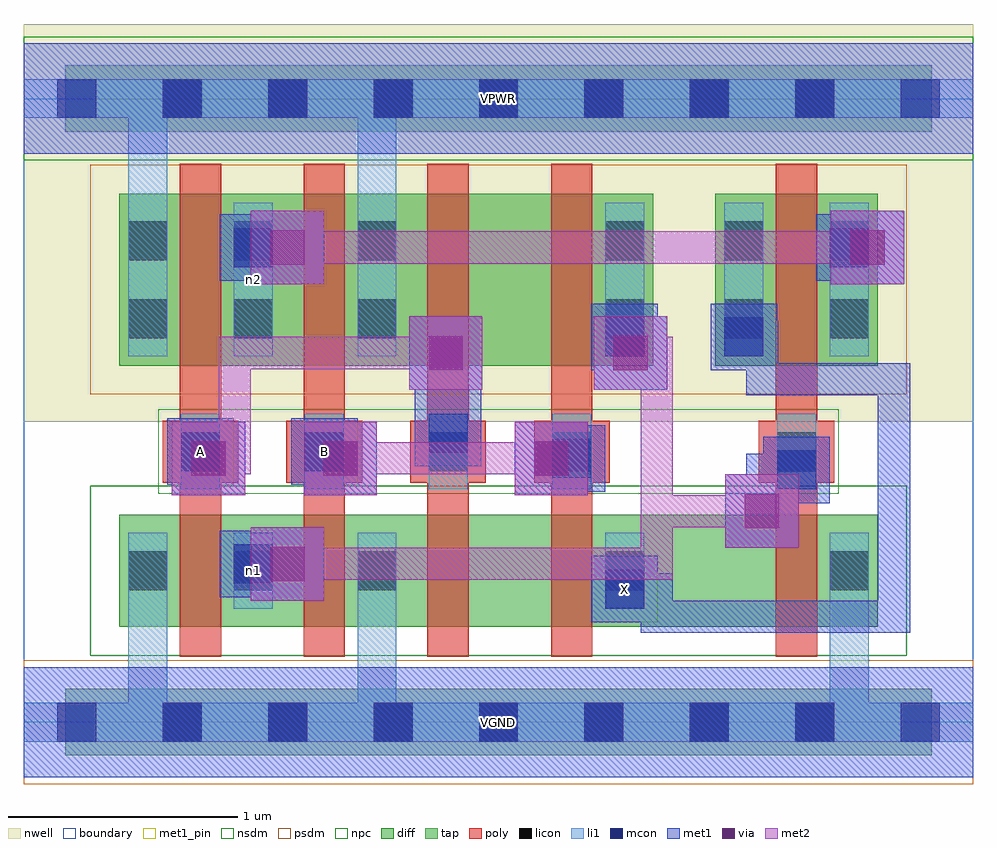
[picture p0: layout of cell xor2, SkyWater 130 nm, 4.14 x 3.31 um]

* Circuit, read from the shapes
.subckt xor2 A B VGND VPWR X n1 n2
XM1 n1 A VGND VGND sky130_fd_pr__nfet_01v8 w=0.49 l=0.18
XM2 VGND B n1 VGND sky130_fd_pr__nfet_01v8 w=0.49 l=0.18
XM3 n3 A VGND VGND sky130_fd_pr__nfet_01v8 w=0.49 l=0.18
XM4 X B n3 VGND sky130_fd_pr__nfet_01v8 w=0.49 l=0.18
XM5 VGND n1 X VGND sky130_fd_pr__nfet_01v8 w=0.49 l=0.18
XM6 n2 A VPWR VPWR sky130_fd_pr__pfet_01v8 w=0.75 l=0.18
XM7 VPWR B n2 VPWR sky130_fd_pr__pfet_01v8 w=0.75 l=0.18
XM8 n4 A VPWR VPWR sky130_fd_pr__pfet_01v8 w=0.75 l=0.18
XM9 n1 B n4 VPWR sky130_fd_pr__pfet_01v8 w=0.75 l=0.18
XM10 n2 n1 X VPWR sky130_fd_pr__pfet_01v8 w=0.75 l=0.18
.ends

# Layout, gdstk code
import gdstk
lib = gdstk.Library(unit=1e-6, precision=1e-09)
def R(c, l, rs):  # rectangles x0, y0, x1, y1
    for r in rs: c.add(gdstk.rectangle(r[:2], r[2:], *l))
def A(c, l, x, y, w, h, nx, ny, dx, dy):  # array of equal rectangles
    R(c, l, [(x+i*dx, y+j*dy, x+i*dx+w, y+j*dy+h) for i in range(nx) for j in range(ny)])
nwell = (64, 20)
diff = (65, 20)
tap = (65, 44)
poly = (66, 20)
licon = (66, 44)
li1 = (67, 20)
mcon = (67, 44)
met1_pin = (68, 16)
met1 = (68, 20)
via = (68, 44)
met2 = (69, 20)
nsdm = (93, 44)
psdm = (94, 20)
npc = (95, 20)
boundary = (235, 4)

xor2 = lib.new_cell('xor2')
R(xor2, nwell, [(0,1.31,4.14,3.045)])
R(xor2, diff, [(0.415,0.415,3.725,0.905), (0.415,1.555,2.745,2.305), (3.015,1.555,3.725,2.305)])
R(xor2, tap, [(0.18,-0.145,3.96,0.145), (0.18,2.575,3.96,2.865)])
A(xor2, poly, 0.68, 0.285, 0.18, 2.15, 4, 1, 0.54, 0)
A(xor2, poly, 0.605, 1.045, 0.33, 0.27, 4, 1, 0.54, 0)
R(xor2, poly, [(3.28,0.285,3.46,2.435), (3.205,1.045,3.535,1.315)])
A(xor2, licon, 0.605, -0.085, 0.17, 0.17, 7, 2, 0.46, 2.72)
A(xor2, licon, 0.685, 1.095, 0.17, 0.17, 4, 1, 0.54, 0)
R(xor2, licon, [(0.455,0.575,0.625,0.745), (0.915,0.575,1.085,0.745), (1.455,0.575,1.625,0.745), (2.535,0.575,2.705,0.745), (3.515,0.575,3.685,0.745), (3.285,1.095,3.455,1.265), (0.455,1.675,0.625,1.845), (0.915,1.675,1.085,1.845), (1.455,1.675,1.625,1.845), (2.535,1.675,2.705,1.845), (3.055,1.675,3.225,1.845), (3.515,1.675,3.685,1.845), (0.455,2.015,0.625,2.185), (0.915,2.015,1.085,2.185), (1.455,2.015,1.625,2.185), (2.535,2.015,2.705,2.185), (3.055,2.015,3.225,2.185), (3.515,2.015,3.685,2.185)])
A(xor2, li1, 0.685, 1.015, 0.17, 0.33, 4, 1, 0.54, 0)
R(xor2, li1, [(0,-0.085,4.14,0.085), (0.455,-0.085,0.625,0.825), (1.455,-0.085,1.625,0.825), (3.515,-0.085,3.685,0.825), (0.455,0.495,0.625,0.825), (0.915,0.495,1.085,0.825), (1.455,0.495,1.625,0.825), (2.535,0.495,2.705,0.825), (3.515,0.495,3.685,0.825), (3.285,1.015,3.455,1.345), (0.455,1.595,0.625,2.265), (0.455,1.595,0.625,2.805), (0.915,1.595,1.085,2.265), (1.455,1.595,1.625,2.265), (1.455,1.595,1.625,2.805), (2.535,1.595,2.705,2.265), (3.055,1.595,3.225,2.265), (3.515,1.595,3.685,2.265), (0,2.635,4.14,2.805)])
A(xor2, mcon, 0.145, -0.085, 0.17, 0.17, 9, 2, 0.46, 2.72)
R(xor2, mcon, [(2.535,0.495,2.705,0.665), (0.915,0.605,1.085,0.775), (3.285,1.015,3.455,1.185), (2.305,1.065,2.475,1.235), (0.685,1.095,0.855,1.265), (1.225,1.095,1.395,1.265), (1.765,1.175,1.935,1.345), (2.535,1.595,2.705,1.765), (3.055,1.595,3.225,1.765), (0.915,1.985,1.085,2.155), (3.515,1.985,3.685,2.155)])
R(xor2, met1_pin, [(0,-0.24,4.14,0.24), (2.475,0.435,2.765,0.725), (0.625,1.035,0.915,1.325), (1.165,1.035,1.455,1.325), (0,2.48,4.14,2.96)])
R(xor2, met1, [(0,-0.24,4.14,0.24), (2.69,0.39,2.83,0.65), (2.69,0.39,3.865,0.53), (3.725,0.39,3.865,1.565), (2.475,0.435,2.765,0.725), (2.55,0.51,2.83,0.65), (0.99,0.53,1.31,0.85), (0.855,0.545,1.145,0.835), (0.93,0.62,1.22,0.76), (3.06,0.76,3.38,1.08), (3.15,0.85,3.29,1.17), (3.225,0.955,3.515,1.245), (0.645,0.99,0.965,1.31), (1.22,0.99,1.54,1.31), (2.14,0.99,2.46,1.31), (2.245,1.005,2.535,1.295), (3.15,1.03,3.44,1.17), (0.625,1.035,0.915,1.325), (1.165,1.035,1.455,1.325), (0.735,1.08,0.875,1.22), (1.31,1.08,1.45,1.22), (2.23,1.08,2.46,1.22), (1.705,1.115,1.995,1.405), (1.77,1.19,1.91,1.45), (1.77,1.19,1.92,1.33), (1.77,1.31,1.91,1.68), (1.77,1.33,1.92,1.45), (1.705,1.405,1.995,1.45), (3.15,1.425,3.29,1.75), (3.15,1.425,3.865,1.565), (1.68,1.45,2,1.77), (2.485,1.45,2.805,1.77), (2.475,1.535,2.765,1.825), (2.995,1.535,3.285,1.825), (2.575,1.54,2.715,1.75), (2.55,1.61,2.715,1.75), (3.07,1.61,3.29,1.75), (0.99,1.91,1.31,2.23), (3.52,1.91,3.84,2.23), (0.855,1.925,1.145,2.215), (3.455,1.925,3.745,2.215), (0.93,2,1.22,2.14), (3.53,2,3.75,2.14), (0,2.48,4.14,2.96)])
R(xor2, via, [(1.075,0.615,1.225,0.765), (3.145,0.845,3.295,0.995), (0.73,1.075,0.88,1.225), (1.305,1.075,1.455,1.225), (2.225,1.075,2.375,1.225), (1.765,1.535,1.915,1.685), (2.57,1.535,2.72,1.685), (1.075,1.995,1.225,2.145), (3.605,1.995,3.755,2.145)])
R(xor2, met2, [(0.99,0.53,1.31,0.85), (1.08,0.62,2.83,0.76), (2.69,0.62,2.83,0.99), (3.06,0.76,3.38,1.08), (2.69,0.85,3.29,0.99), (2.69,0.85,2.83,1.68), (0.645,0.99,0.965,1.31), (1.22,0.99,1.54,1.31), (2.14,0.99,2.46,1.31), (0.735,1.08,0.99,1.22), (0.85,1.08,0.99,1.68), (1.31,1.08,2.37,1.22), (1.68,1.45,2,1.77), (2.485,1.45,2.805,1.77), (0.85,1.54,1.91,1.68), (2.575,1.54,2.83,1.68), (0.99,1.91,1.31,2.23), (3.52,1.91,3.84,2.23), (1.08,2,3.75,2.14)])
R(xor2, nsdm, [(0.29,0.29,3.85,1.03), (0,2.45,4.14,2.99)])
R(xor2, psdm, [(0,-0.27,4.14,0.27), (0.29,1.43,3.85,2.43)])
R(xor2, npc, [(0.585,0.995,3.555,1.365)])
R(xor2, boundary, [(0,0,4.14,2.72)])
xor2.add(gdstk.Label('n1', (1,0.66), layer=67, texttype=5))
xor2.add(gdstk.Label('n2', (1,1.93), layer=67, texttype=5))
xor2.add(gdstk.Label('A', (0.77,1.18), layer=68, texttype=5))
xor2.add(gdstk.Label('B', (1.31,1.18), layer=68, texttype=5))
xor2.add(gdstk.Label('X', (2.62,0.58), layer=68, texttype=5))
xor2.add(gdstk.Label('VPWR', (2.07,2.72), layer=68, texttype=5))
xor2.add(gdstk.Label('VGND', (2.07,0), layer=68, texttype=5))
xor2.add(gdstk.Label('A', (0.77,1.18), layer=68, texttype=16))
xor2.add(gdstk.Label('B', (1.31,1.18), layer=68, texttype=16))
xor2.add(gdstk.Label('X', (2.62,0.58), layer=68, texttype=16))
xor2.add(gdstk.Label('VPWR', (2.07,2.72), layer=68, texttype=16))
xor2.add(gdstk.Label('VGND', (2.07,0), layer=68, texttype=16))

lib.write_gds('xor2.gds')
